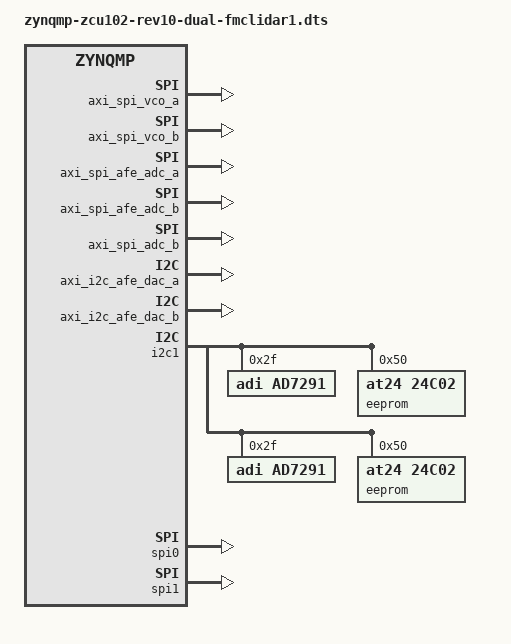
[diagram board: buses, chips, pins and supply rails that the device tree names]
#include "zynqmp-zcu102-rev1.0.dts"

&i2c1 {
	i2c-mux@75 {
 		i2c@0 { /* HPC0 */
 			#address-cells = <1>;
 			#size-cells = <0>;
 			reg = <0>;
 			/* HPC0_IIC */
 			ad7291@2f {
 				compatible = "adi,ad7291";
				reg = <0x2f>;
 			};

 			eeprom@50 {
 				compatible = "at24,24c02";
 				reg = <0x50>;
 			};

 		};
		i2c@1 { /* HPC1 */
			#address-cells = <1>;
			#size-cells = <0>;
			reg = <1>;
			/* HPC0_IIC */
			ad7291@2f {
				compatible = "adi,ad7291";
				reg = <0x2f>;
			};

			eeprom@50 {
				compatible = "at24,24c02";
				reg = <0x50>;
			};

		};

	};
};

/ {
	fpga_axi: fpga-axi@0 {
		interrupt-parent = <&gic>;
		compatible = "simple-bus";
		#address-cells = <0x1>;
		#size-cells = <0x1>;
		ranges = <0 0 0 0xffffffff>;

		axi_spi_vco_a: axi_quad_spi@9c500000 {
			reg = <0x9c500000 0x10000>;
			compatible = "xlnx,xps-spi-2.00.a";
			bits-per-word = <8>;
			clock-names = "ext_spi_clk", "s_axi_aclk";
			clocks = <&clk 71>, <&clk 71>;
			fifo-size = <16>;
			interrupt-names = "ip2intc_irpt";
			interrupt-parent = <&gic>;
			interrupts = <0 106 1>;
			num-cs = <0x1>;
			xlnx,num-ss-bits = <0x1>;
			xlnx,spi-mode = <0>;
			#address-cells = <1>;
			#size-cells = <0>;
		};

		axi_spi_vco_b: axi_quad_spi@9d100000 {
			reg = <0x9d100000 0x10000>;
			compatible = "xlnx,xps-spi-2.00.a";
			bits-per-word = <8>;
			clock-names = "ext_spi_clk", "s_axi_aclk";
			clocks = <&clk 71>, <&clk 71>;
			fifo-size = <16>;
			interrupt-names = "ip2intc_irpt";
			interrupt-parent = <&gic>;
			interrupts = <0 94 1>;
			num-cs = <0x1>;
			xlnx,num-ss-bits = <0x1>;
			xlnx,spi-mode = <0>;
			#address-cells = <1>;
			#size-cells = <0>;
		};

		axi_spi_afe_adc_a: axi_quad_spi@9c600000 {
			reg = <0x9c600000 0x10000>;
			compatible = "xlnx,xps-spi-2.00.a";
			bits-per-word = <8>;
			clock-names = "ext_spi_clk", "s_axi_aclk";
			clocks = <&clk 71>, <&clk 71>;
			fifo-size = <16>;
			interrupt-names = "ip2intc_irpt";
			interrupt-parent = <&gic>;
			interrupts = <0 105 1>;
			num-cs = <0x1>;
			xlnx,num-ss-bits = <0x1>;
			xlnx,spi-mode = <0>;
			#address-cells = <1>;
			#size-cells = <0>;
		};

		axi_spi_afe_adc_b: axi_quad_spi@9d200000 {
			reg = <0x9d200000 0x10000>;
			compatible = "xlnx,xps-spi-2.00.a";
			bits-per-word = <8>;
			clock-names = "ext_spi_clk", "s_axi_aclk";
			clocks = <&clk 71>, <&clk 71>;
			fifo-size = <16>;
			interrupt-names = "ip2intc_irpt";
			interrupt-parent = <&gic>;
			interrupts = <0 93 1>;
			num-cs = <0x1>;
			xlnx,num-ss-bits = <0x1>;
			xlnx,spi-mode = <0>;
			#address-cells = <1>;
			#size-cells = <0>;
		};

		axi_spi_clkgen_b: axi_quad_spi@9d500000 {
			reg = <0x9d500000 0x10000>;
			compatible = "xlnx,xps-spi-2.00.a";
			bits-per-word = <8>;
			clock-names = "ext_spi_clk", "s_axi_aclk";
			clocks = <&clk 71>, <&clk 71>;
			fifo-size = <16>;
			interrupt-names = "ip2intc_irpt";
			interrupt-parent = <&gic>;
			interrupts = <0 90 1>;
			num-cs = <0x1>;
			xlnx,num-ss-bits = <0x1>;
			xlnx,spi-mode = <0>;
			#address-cells = <1>;
			#size-cells = <0>;
		};

		axi_spi_adc_b: axi_quad_spi@9d400000 {
			reg = <0x9d400000 0x10000>;
			compatible = "xlnx,xps-spi-2.00.a";
			bits-per-word = <8>;
			clock-names = "ext_spi_clk", "s_axi_aclk";
			clocks = <&clk 71>, <&clk 71>;
			fifo-size = <16>;
			interrupt-names = "ip2intc_irpt";
			interrupt-parent = <&gic>;
			interrupts = <0 91 1>;
			num-cs = <0x1>;
			xlnx,num-ss-bits = <0x1>;
			xlnx,spi-mode = <0>;
			#address-cells = <1>;
			#size-cells = <0>;
		};

		axi_ad9094_adxcvr_a: axi-adxcvr-rx@84a50000 {
			compatible = "adi,axi-adxcvr-1.0";
			reg = <0x84a50000 0x1000>;

			clocks = <&ad9528_a 3>;
			clock-names = "conv";

			#clock-cells = <1>;
			clock-output-names = "adc_gt_clk", "rx_out_clk";

			adi,sys-clk-select = <3>;
			adi,out-clk-select = <3>;
			adi,use-lpm-enable;
		};

		axi_ad9094_adxcvr_b: axi-adxcvr-rx-b@9d000000 {
			compatible = "adi,axi-adxcvr-1.0";
			reg = <0x9d000000 0x1000>;

			clocks = <&ad9528_b 3>;
			clock-names = "conv";

			#clock-cells = <1>;
			clock-output-names = "adc_gt_clk_b", "rx_out_clk_b";

			adi,sys-clk-select = <3>;
			adi,out-clk-select = <3>;
			adi,use-lpm-enable;
		};

		axi_ad9094_rx_jesd_a: axi-jesd204-rx@84aa0000 {
			compatible = "adi,axi-jesd204-rx-1.0";
			reg = <0x84aa0000 0x1000>;

			interrupts = <0 107 0>;

			clocks = <&clk 71>, <&ad9528_a 4>, <&axi_ad9094_adxcvr_a 0>;
			clock-names = "s_axi_aclk", "device_clk", "lane_clk";

			adi,octets-per-frame = <1>;
			adi,frames-per-multiframe = <32>;
			adi,converter-resolution = <8>;
			adi,bits-per-sample = <8>;
			adi,converters-per-device = <2>;
			adi,subclass = <1>;

			#clock-cells = <0>;
			clock-output-names = "jesd_adc_lane_clk";
		};

		axi_ad9094_rx_jesd_b: axi-jesd204-rx@9d080000 {
			compatible = "adi,axi-jesd204-rx-1.0";
			reg = <0x9d080000 0x1000>;

			interrupts = <0 96 0>;

			clocks = <&clk 71>, <&ad9528_b 4>, <&axi_ad9094_adxcvr_b 0>;
			clock-names = "s_axi_aclk", "device_clk", "lane_clk";

			adi,octets-per-frame = <1>;
			adi,frames-per-multiframe = <32>;
			adi,converter-resolution = <8>;
			adi,bits-per-sample = <8>;
			adi,converters-per-device = <2>;
			adi,subclass = <1>;

			#clock-cells = <0>;
			clock-output-names = "jesd_adc_lane_clk_b";
		};

		axi_i2c_afe_dac_a: i2c@9c800000 {
			#address-cells = <1>;
			#size-cells = <0>;
			clock-names = "s_axi_aclk";
			clocks = <&clk 71>;
			compatible = "xlnx,axi-iic-2.0", "xlnx,xps-iic-2.00.a";
			interrupt-names = "iic2intc_irpt";
			interrupt-parent = <&gic>;
			interrupts = <0 108 4>;
			reg = <0x9c800000 0x1000>;
		};

		axi_i2c_afe_dac_b: i2c@9d800000 {
			#address-cells = <1>;
			#size-cells = <0>;
			clock-names = "s_axi_aclk";
			clocks = <&clk 71>;
			compatible = "xlnx,axi-iic-2.0", "xlnx,xps-iic-2.00.a";
			interrupt-names = "iic2intc_irpt";
			interrupt-parent = <&gic>;
			interrupts = <0 89 4>;
			reg = <0x9d800000 0x1000>;
		};

		axi_pulse_capture: axi-pulse-capture@9c700000 {
			compatible = "adi,axi-pulse-capture-1.00.a";
			reg = <0x9c700000 0x10000>;
			interrupts = <0 104 4>;
			clocks = <&axi_ad9094_adxcvr_a 1>;
		};
	};
};

&spi0 {
	status = "okay";
};

&spi1 {
	status = "okay";
};

#define spi_adc_a	spi0
#define spi_clkgen_a	spi1
#define spi_vco_a	axi_spi_vco_a
#define spi_afe_adc_a	axi_spi_afe_adc_a
#define i2c_afe_dac_a	axi_i2c_afe_dac_a

#define spi_adc_b	axi_spi_adc_b
#define spi_clkgen_b	axi_spi_clkgen_b
#define spi_vco_b	axi_spi_vco_b
#define spi_afe_adc_b	axi_spi_afe_adc_b
#define i2c_afe_dac_b	axi_i2c_afe_dac_b

#include "adi-dual-fmclidar1.dtsi"

&ad7091_a {
	convst-gpios = <&gpio 115 0>;
};

&ad7091_b {
	convst-gpios = <&gpio 135 0>;
};
